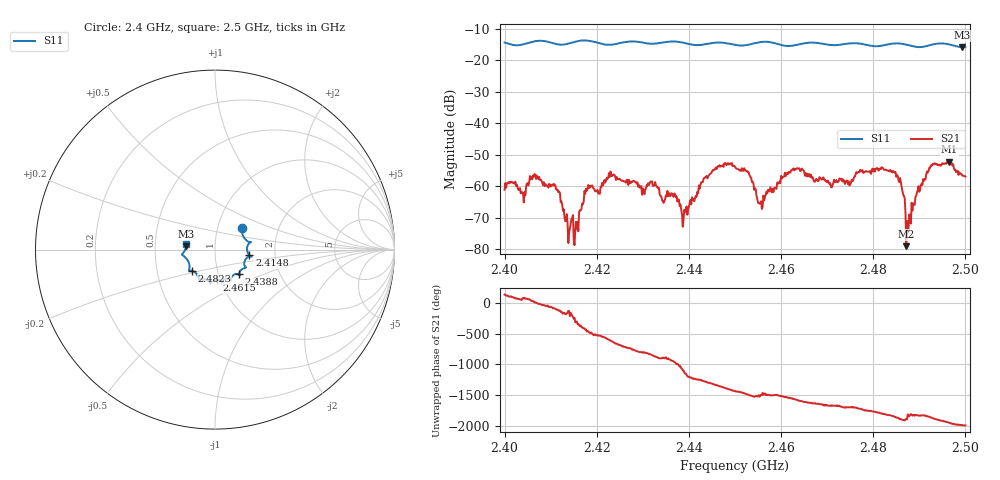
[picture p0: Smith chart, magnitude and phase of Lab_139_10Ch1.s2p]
# Hz S RI R 50
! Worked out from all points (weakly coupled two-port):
!   601 points, 2.4 GHz to 2.5 GHz, reference 50 ohm
!   highest |S21| = -52.22 dB at 2.4965 GHz (marker M1); lowest = -79.1 dB at 2.4872 GHz (marker M2)
!   lowest |S11| = -15.8 dB at 2.4993 GHz (marker M3), VSWR 1.39, Z = 36.1 + j1.32 ohm
!   |S11| at or under -10 dB: start of sweep to end of sweep
!   S12 and S22 are empty: the file has one direction only
!   S11 on the Smith chart (normalised r, x): 2.4 GHz: 1.31, +0.32; 2.4148 GHz: 1.47, -0.10; 2.4388 GHz: 1.25, -0.36; 2.4615 GHz: 0.97, -0.34; 2.4823 GHz: 0.75, -0.18; 2.5 GHz: 0.72, +0.04
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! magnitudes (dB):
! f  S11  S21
! 2.4 GHz  -14.3  -61.1
! 2.4107 GHz  -14.6  -59.3
! 2.4148 GHz  -14.2  -69.2
! 2.4167 GHz  -13.7  -67.4
! 2.4178 GHz  -13.7  -61.4
! 2.4232 GHz  -15.0  -56.8
! 2.4333 GHz  -14.5  -60.8
! 2.4388 GHz  -14.4  -70.5
! 2.4453 GHz  -14.4  -55.0
! 2.45 GHz  -15.0  -53.8
! 2.453 GHz  -15.0  -55.8
! 2.4555 GHz  -14.2  -65.4
! 2.4615 GHz  -15.4  -56.1
! 2.4667 GHz  -14.3  -57.3
! 2.4823 GHz  -15.2  -54.7
! 2.4833 GHz  -14.9  -55.2
! 2.4857 GHz  -14.6  -58.8
! 2.4872 GHz  -15.0  -79.1
! 2.4925 GHz  -15.1  -53.4
! 2.4965 GHz  -14.9  -52.2
! 2.4993 GHz  -15.8  -56.7
! 2.5 GHz  -15.7  -56.9
